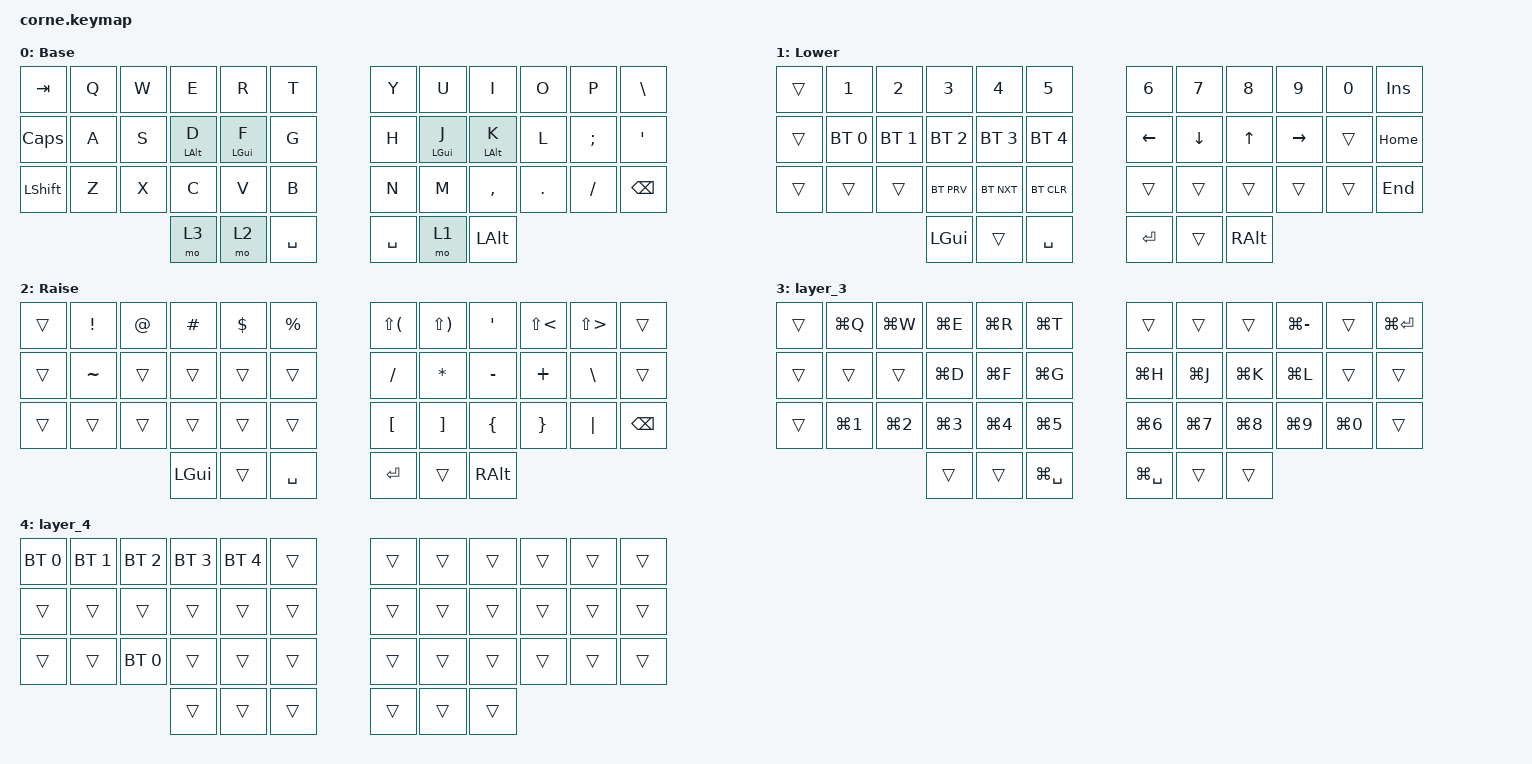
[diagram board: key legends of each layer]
/*
 * Copyright (c) 2020 The ZMK Contributors
 *
 * SPDX-License-Identifier: MIT
 */

#include <behaviors.dtsi>
#include <dt-bindings/zmk/bt.h>
#include <dt-bindings/zmk/keys.h>

/ {
    behaviors {
        HMR: HMR {
            compatible = "zmk,behavior-hold-tap";
            label = "HMR";
            bindings = <&kp>, <&kp>;

            #binding-cells = <2>;
            tapping-term-ms = <200>;
            quick-tap-ms = <150>;
            flavor = "tap-preferred";
            hold-trigger-key-positions = <0 1 2 3 4 5 12 13 14 15 16 17 24 25 26 27 28 29 36 37 38 39 40 41>;
            hold-trigger-on-release;
            require-prior-idle-ms = <150>;
        };

        HML: HML {
            compatible = "zmk,behavior-hold-tap";
            label = "HML";
            bindings = <&kp>, <&kp>;

            #binding-cells = <2>;
            tapping-term-ms = <200>;
            quick-tap-ms = <150>;
            flavor = "tap-preferred";
            hold-trigger-on-release;
            hold-trigger-key-positions = <36 37 38 6 7 8 9 10 11 18 19 20 21 22 23 30 31 32 33 34 35 39 40 41>;
            require-prior-idle-ms = <150>;
        };
    };

    combos {
        compatible = "zmk,combos";

        enter {
            bindings = <&kp ENTER>;
            key-positions = <38 39>;
        };

        toggle_q {
            bindings = <&tog 1>;
            key-positions = <36 41 17>;
        };

        boot_left {
            bindings = <&bootloader>;
            key-positions = <5 17 29>;
        };

        boot_right {
            bindings = <&bootloader>;
            key-positions = <18 6 30>;
        };

        reset_left {
            bindings = <&sys_reset>;
            key-positions = <0 12 24>;
        };

        reset_right {
            bindings = <&sys_reset>;
            key-positions = <11 23 35>;
        };
    };

    keymap {
        compatible = "zmk,keymap";

        default_layer {
            // -----------------------------------------------------------------------------------------
            // |  TAB |  Q  |  W  |  E  |  R  |  T  |   |  Y  |  U   |  I  |  O  |  P  | BKSP |
            // | CTRL |  A  |  S  |  D  |  F  |  G  |   |  H  |  J   |  K  |  L  |  ;  |  '   |
            // | SHFT |  Z  |  X  |  C  |  V  |  B  |   |  N  |  M   |  ,  |  .  |  /  | ESC  |
            //                    | GUI | LWR | SPC |   | ENT | RSE  | ALT |

            display-name = "Base";
            bindings = <
&kp TAB       &kp Q  &kp W  &kp E            &kp R            &kp T        &kp Y      &kp U        &kp I            &kp O    &kp P     &kp BACKSLASH
&kp CAPSLOCK  &kp A  &kp S  &HML LEFT_ALT D  &HML LEFT_GUI F  &kp G        &kp H      &HMR LGUI J  &HMR LEFT_ALT K  &kp L    &kp SEMI  &kp SQT
&kp LSHFT     &kp Z  &kp X  &kp C            &kp V            &kp B        &kp N      &kp M        &kp COMMA        &kp DOT  &kp FSLH  &kp BACKSPACE
                            &mo 3            &mo 2            &kp SPACE    &kp SPACE  &mo 1        &kp LEFT_ALT
            >;
        };

        lower_layer {
            // -----------------------------------------------------------------------------------------
            // |  TAB |  1  |  2  |  3  |  4  |  5  |   |  6  |  7  |  8  |  9  |  0  | BKSP |
            // | BTCLR| BT1 | BT2 | BT3 | BT4 | BT5 |   | LFT | DWN |  UP | RGT |     |      |
            // | SHFT |     |     |     |     |     |   |     |     |     |     |     |      |
            //                    | GUI |     | SPC |   | ENT |     | ALT |

            display-name = "Lower";
            bindings = <
&trans  &kp N1        &kp N2        &kp N3        &kp N4        &kp N5          &kp N6    &kp N7    &kp N8    &kp N9     &kp N0  &kp INSERT
&trans  &bt BT_SEL 0  &bt BT_SEL 1  &bt BT_SEL 2  &bt BT_SEL 3  &bt BT_SEL 4    &kp LEFT  &kp DOWN  &kp UP    &kp RIGHT  &trans  &kp HOME
&trans  &trans        &trans        &bt BT_PRV    &bt BT_NXT    &bt BT_CLR      &trans    &trans    &trans    &trans     &trans  &kp END
                                    &kp LGUI      &trans        &kp SPACE       &kp RET   &trans    &kp RALT
            >;
        };

        raise_layer {
            // -----------------------------------------------------------------------------------------
            // |  TAB |  !  |  @  |  #  |  $  |  %  |   |  ^  |  &  |  *  |  (  |  )  | BKSP |
            // | CTRL |     |     |     |     |     |   |  -  |  =  |  [  |  ]  |  \  |  `   |
            // | SHFT |     |     |     |     |     |   |  _  |  +  |  {  |  }  | "|" |  ~   |
            //                    | GUI |     | SPC |   | ENT |     | ALT |

            display-name = "Raise";
            bindings = <
&trans  &kp EXCL   &kp AT  &kp HASH  &kp DLLR  &kp PRCNT    &kp LS(LPAR)  &kp LS(RPAR)  &kp SQT    &kp LS(LT)  &kp LS(GT)  &trans
&trans  &kp TILDE  &trans  &trans    &trans    &trans       &kp FSLH      &kp STAR      &kp MINUS  &kp PLUS    &kp BSLH    &trans
&trans  &trans     &trans  &trans    &trans    &trans       &kp LBKT      &kp RBKT      &kp LBRC   &kp RBRC    &kp PIPE    &kp BACKSPACE
                           &kp LGUI  &trans    &kp SPACE    &kp RET       &trans        &kp RALT
            >;
        };

        layer_3 {
            bindings = <
&trans  &kp LG(Q)   &kp LG(W)   &kp LG(E)   &kp LG(R)   &kp LG(T)        &trans         &trans      &trans      &kp LG(MINUS)  &trans      &kp LG(ENTER)
&trans  &trans      &trans      &kp LG(D)   &kp LG(F)   &kp LG(G)        &kp LG(H)      &kp LG(J)   &kp LG(K)   &kp LG(L)      &trans      &trans
&trans  &kp LG(N1)  &kp LG(N2)  &kp LG(N3)  &kp LG(N4)  &kp LG(N5)       &kp LG(N6)     &kp LG(N7)  &kp LG(N8)  &kp LG(N9)     &kp LG(N0)  &trans
                                &trans      &trans      &kp LG(SPACE)    &kp LG(SPACE)  &trans      &trans
            >;
        };

        layer_4 {
            bindings = <
&bt BT_SEL 0  &bt BT_SEL 1  &bt BT_SEL 2  &bt BT_SEL 3  &bt BT_SEL 4  &trans    &trans  &trans  &trans  &trans  &trans  &trans
&trans        &trans        &trans        &trans        &trans        &trans    &trans  &trans  &trans  &trans  &trans  &trans
&trans        &trans        &bt BT_SEL 0  &trans        &trans        &trans    &trans  &trans  &trans  &trans  &trans  &trans
                                          &trans        &trans        &trans    &trans  &trans  &trans
            >;
        };
    };
};
